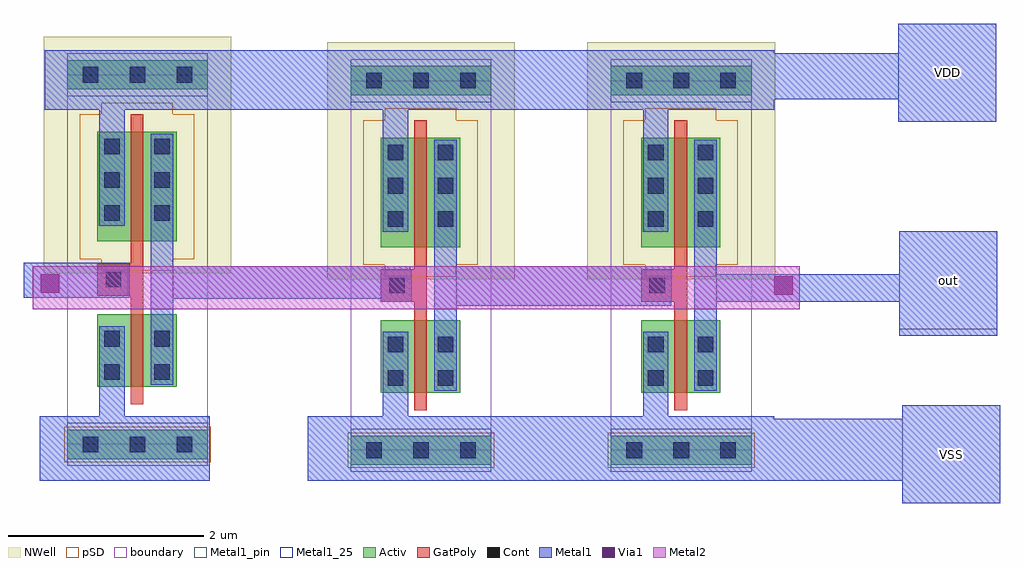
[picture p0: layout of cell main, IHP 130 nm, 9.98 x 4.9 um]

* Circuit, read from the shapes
.subckt main VDD VSS out
XM1 sg13g2_inv_1_2/A out VSS VSS sg13_lv_nmos w=0.74u l=0.13u
XM2 sg13g2_inv_1_1/A sg13g2_inv_1_2/A VSS VSS sg13_lv_nmos w=0.74u l=0.13u
XM3 out sg13g2_inv_1_1/A VSS VSS sg13_lv_nmos w=0.74u l=0.13u
XM4 sg13g2_inv_1_2/A out VDD VDD sg13_lv_pmos w=1.12u l=0.13u
XM5 sg13g2_inv_1_1/A sg13g2_inv_1_2/A VDD VDD sg13_lv_pmos w=1.12u l=0.13u
XM6 out sg13g2_inv_1_1/A VDD VDD sg13_lv_pmos w=1.12u l=0.13u
.ends

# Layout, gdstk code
import gdstk
lib = gdstk.Library(unit=1e-6, precision=1e-09)
def R(c, l, rs):  # rectangles x0, y0, x1, y1
    for r in rs: c.add(gdstk.rectangle(r[:2], r[2:], *l))
def A(c, l, x, y, w, h, nx, ny, dx, dy):  # array of equal rectangles
    R(c, l, [(x+i*dx, y+j*dy, x+i*dx+w, y+j*dy+h) for i in range(nx) for j in range(ny)])
Activ = (1, 0)
GatPoly = (5, 0)
Cont = (6, 0)
Metal1 = (8, 0)
Metal1_pin = (8, 2)
Metal1_25 = (8, 25)
Metal2 = (10, 0)
pSD = (14, 0)
Via1 = (19, 0)
NWell = (31, 0)
boundary = (189, 4)

sg13g2_inv_1 = lib.new_cell('sg13g2_inv_1')
R(sg13g2_inv_1, Activ, [(0,-0.15,1.44,0.15), (0.31,0.59,1.12,1.33), (0.31,2.075,1.12,3.195), (0,3.63,1.44,3.93)])
R(sg13g2_inv_1, GatPoly, [(0.65,0.41,0.78,1.52), (0.31,1.52,0.78,1.85), (0.65,1.85,0.78,3.375)])
A(sg13g2_inv_1, Cont, 0.16, -0.08, 0.16, 0.16, 3, 2, 0.48, 3.78)
A(sg13g2_inv_1, Cont, 0.38, 2.285, 0.16, 0.16, 1, 3, 0, 0.34)
A(sg13g2_inv_1, Cont, 0.89, 2.285, 0.16, 0.16, 1, 3, 0, 0.34)
R(sg13g2_inv_1, Cont, [(0.38,0.66,0.54,0.82), (0.89,0.66,1.05,0.82), (0.38,1,0.54,1.16), (0.89,1,1.05,1.16), (0.395,1.605,0.555,1.765)])
R(sg13g2_inv_1, Metal1, [(0,-0.22,1.44,0.22), (0.33,0.22,0.59,1.21), (0.855,0.61,1.085,3.175), (0.31,1.52,0.625,1.85), (0.33,2.235,0.59,3.56), (0,3.56,1.44,4)])
R(sg13g2_inv_1, Metal1_pin, [(0,-0.22,1.44,0.22), (0.855,0.61,1.085,3.175), (0.31,1.52,0.625,1.85), (0,3.56,1.44,4)])
R(sg13g2_inv_1, pSD, [(-0.03,-0.18,1.47,0.18), (0.35,1.775,1.08,1.895), (0.13,1.895,1.3,3.375), (0.35,3.375,1.08,3.495)])
R(sg13g2_inv_1, NWell, [(-0.24,1.75,1.68,4.17)])
R(sg13g2_inv_1, boundary, [(0,0,1.44,3.78)])
sg13g2_inv_1.add(gdstk.Label('Y', (0.97,1.892), layer=8, texttype=25))
sg13g2_inv_1.add(gdstk.Label('A', (0.467,1.685), layer=8, texttype=25))
sg13g2_inv_1.add(gdstk.Label('VSS', (0.72,0), layer=8, texttype=25))
sg13g2_inv_1.add(gdstk.Label('VDD', (0.72,3.78), layer=8, texttype=25))

via_gq9r9n = lib.new_cell('via_GQ9R9N')
R(via_gq9r9n, Metal1, [(-0.145,-0.105,0.145,0.105)])
R(via_gq9r9n, Metal2, [(-0.1,-0.145,0.1,0.145)])
R(via_gq9r9n, Via1, [(-0.095,-0.095,0.095,0.095)])

main = lib.new_cell('main')
R(main, Activ, [(5.11,0.97,5.18,1.1)])
R(main, Metal1, [(7.08,-0.3,8.08,-0.07), (-1.74,-0.07,0,0.59), (1,-0.07,8.08,0.56), (1,0.56,5.77,0.59), (7.08,0.56,8.08,0.7), (7.05,1.41,8.05,1.76), (2.33,1.72,4.72,2.12), (4.98,1.76,8.05,2.04), (-0.6,1.79,2.05,2.12), (-1.9,1.8,-0.82,2.16), (7.05,2.04,8.05,2.48), (7.04,3.6,8.04,3.83), (-1.69,3.72,5.77,3.83), (-1.69,3.83,8.04,4.3), (-1.69,4.3,5.77,4.33), (7.04,4.3,8.04,4.6)])
R(main, Metal1_pin, [(7.08,-0.3,8.08,0.7), (7.05,1.48,8.05,2.48)])
R(main, Metal1_25, [(7.04,3.6,8.04,4.6)])
R(main, Metal2, [(-1.81,1.68,6.03,2.12)])
R(main, NWell, [(2.22,2.4,2.26,2.88)])
main.add(gdstk.Reference(sg13g2_inv_1, (-1.46,0.3)))
main.add(gdstk.Reference(sg13g2_inv_1, (4.1,0.24)))
main.add(gdstk.Reference(sg13g2_inv_1, (1.44,0.24)))
main.add(gdstk.Reference(via_gq9r9n, (5.865,1.925)))
main.add(gdstk.Reference(via_gq9r9n, (-1.635,1.945)))
main.add(gdstk.Label('VDD', (7.54,4.1), layer=8, texttype=25))
main.add(gdstk.Label('out', (7.55,1.98), layer=8, texttype=25))
main.add(gdstk.Label('VSS', (7.58,0.2), layer=8, texttype=25))

lib.write_gds('main.gds')
